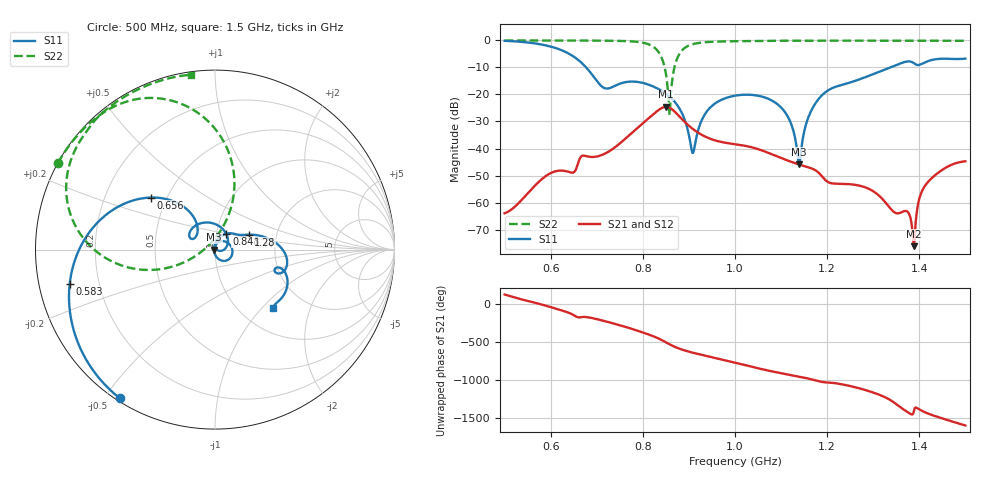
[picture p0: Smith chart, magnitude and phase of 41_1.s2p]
! TOUCHSTONE file generated by CST MICROWAVE STUDIO
! Date and time: Fri Oct  2 17:14:05 2020
! Project name: Scenario_1_Free_Space_out_of_line.cst
! Parameters = {Lambda=346.42; Step_1=17.321; dy1=-346; dx1=173; L_HA=400; MT=2.54; Rad_Dielectric=30; Rad_Lower=7.3; Rad_Upper=30; a_HA=580; a_WG=246; b_HA=500; b_WG=121; c_HA=0; c_WG=187; d_feed=85; h_feed=15; h_lower=18; h_upper=40}
! Header version: 2018
! Port assignment regex: !\s*Touchstone port\s*([0-9]+)\s*=\s*(CST MWS port|CST DS port)\s*([0-9]+|Zmin|Zmax)\s*\(\"(.*)\"\)(\s*mode\s*([0-9]+))?.*
! Touchstone port assignment:
! Touchstone port 1 = CST MWS port 1 ("")
! Touchstone port 2 = CST MWS port 2 ("")
# GHz S DB R 50
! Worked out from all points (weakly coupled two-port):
!   1003 points, 500 MHz to 1.5 GHz, reference 50 ohm
!   highest |S21| = -24.57 dB at 850 MHz (marker M1); lowest = -76.1 dB at 1.388 GHz (marker M2)
!   lowest |S11| = -45.9 dB at 1.139 GHz (marker M3), VSWR 1.01, Z = 49.5 - j0.0381 ohm
!   |S11| at or under -10 dB: 677 MHz to 1.337 GHz (659.6 MHz wide, 65.5 % of centre)
!   |S22| runs from -27.6 to 0.0 dB; largest |S21 - S12| = 0.00043
!   S11 on the Smith chart (normalised r, x): 500 MHz: 0.01, -0.55; 583 MHz: 0.09, -0.11; 656 MHz: 0.41, +0.30; 848 MHz: 1.12, +0.19; 1.28 GHz: 1.43, +0.25; 1.5 GHz: 1.40, -1.16
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0.5  -0.15 -122.7  -63.95 122.6  -63.95 122.6  -0.01 151.1
0.583  -1.60 -166.8  -51.02 -12.9  -51.03 -12.8  -0.01 145.4
0.656  -6.72 141.1  -47.21 -169.3  -46.53 -167.2  -0.04 139.4
0.667  -8.29 133.4  -42.83 -174.1  -42.96 -172.4  -0.04 138.3
0.718  -17.72 141.4  -41.87 132.1  -41.79 132.4  -0.09 132.5
0.834  -17.98 73.0  -25.78 -95.3  -25.78 -95.3  -4.28 85.9
0.848  -19.45 53.1  -24.60 -138.1  -24.60 -138.1  -10.48 70.4
0.85  -19.70 50.1  -24.57 -144.7  -24.57 -144.8  -12.26 69.0
0.859  -20.95 36.2  -24.99 -174.3  -24.99 -174.4  -25.49 171.7
0.876  -24.28 9.0  -27.54 138.2  -27.54 138.2  -6.09 -168.5
0.908  -41.66 26.8  -32.71 78.8  -32.71 78.8  -1.40 163.8
0.941  -25.82 60.7  -36.03 31.4  -36.03 31.4  -0.60 150.9
1  -20.45 2.7  -38.40 -52.2  -38.41 -52.2  -0.29 140.0
1.098  -24.47 -67.0  -43.36 170.5  -43.35 170.5  -0.12 129.9
1.139  -45.85 -175.7  -45.91 123.1  -45.91 123.1  -0.10 126.4
1.167  -25.48 78.4  -47.42 86.4  -47.43 86.5  -0.09 124.2
1.28  -13.78 24.1  -54.21 -48.1  -54.21 -48.1  -0.09 115.6
1.334  -10.17 10.9  -61.52 -173.7  -61.52 -173.7  -0.09 111.5
1.374  -7.78 -9.8  -63.32 18.9  -63.32 18.9  -0.10 108.4
1.388  -8.41 -20.5  -76.15 26.6  -76.15 26.6  -0.10 107.3
1.414  -7.96 -16.9  -53.40 9.7  -53.40 9.7  -0.10 105.2
1.5  -6.73 -45.3  -44.73 -158.7  -44.74 -158.6  -0.14 97.8
